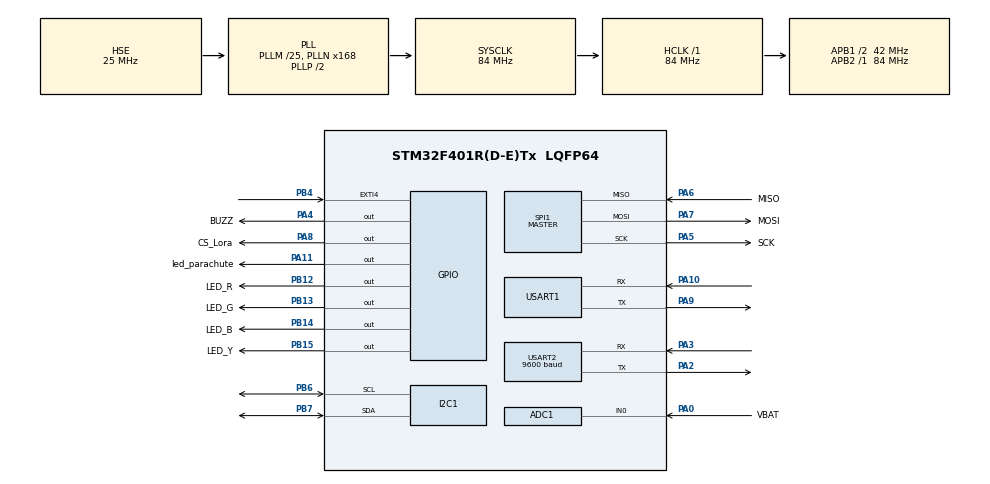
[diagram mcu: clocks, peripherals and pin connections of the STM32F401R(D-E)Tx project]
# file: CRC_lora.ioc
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ADC1.Channel-0\#ChannelRegularConversion=ADC_CHANNEL_0
ADC1.ClockPrescaler=ADC_CLOCK_SYNC_PCLK_DIV8
ADC1.ContinuousConvMode=ENABLE
ADC1.NbrOfConversionFlag=1
ADC1.Rank-0\#ChannelRegularConversion=1
ADC1.SamplingTime-0\#ChannelRegularConversion=ADC_SAMPLETIME_3CYCLES
ADC1.master=1
Dma.I2C1_RX.1.Direction=DMA_PERIPH_TO_MEMORY
Dma.I2C1_RX.1.FIFOMode=DMA_FIFOMODE_DISABLE
Dma.I2C1_RX.1.Instance=DMA1_Stream0
Dma.I2C1_RX.1.MemDataAlignment=DMA_MDATAALIGN_BYTE
Dma.I2C1_RX.1.MemInc=DMA_MINC_ENABLE
Dma.I2C1_RX.1.Mode=DMA_NORMAL
Dma.I2C1_RX.1.PeriphDataAlignment=DMA_PDATAALIGN_BYTE
Dma.I2C1_RX.1.PeriphInc=DMA_PINC_DISABLE
Dma.I2C1_RX.1.Priority=DMA_PRIORITY_LOW
Dma.Request0=USART2_RX
Dma.Request1=I2C1_RX
Dma.USART2_RX.0.Direction=DMA_PERIPH_TO_MEMORY
Dma.USART2_RX.0.FIFOMode=DMA_FIFOMODE_DISABLE
Dma.USART2_RX.0.Instance=DMA1_Stream5
Dma.USART2_RX.0.MemDataAlignment=DMA_MDATAALIGN_BYTE
Dma.USART2_RX.0.MemInc=DMA_MINC_ENABLE
Dma.USART2_RX.0.Mode=DMA_CIRCULAR
Dma.USART2_RX.0.PeriphDataAlignment=DMA_PDATAALIGN_BYTE
Dma.USART2_RX.0.PeriphInc=DMA_PINC_DISABLE
Dma.USART2_RX.0.Priority=DMA_PRIORITY_LOW
Mcu.Family=STM32F4
Mcu.Name=STM32F401R(D-E)Tx
Mcu.Package=LQFP64
NVIC.DMA1_Stream0_IRQn=true\:0\:0\:false\:false\:true\:false\:true\:true
NVIC.DMA1_Stream5_IRQn=true\:0\:0\:false\:false\:true\:false\:true\:true
NVIC.I2C1_EV_IRQn=true\:0\:0\:false\:false\:true\:true\:true\:true
NVIC.PriorityGroup=NVIC_PRIORITYGROUP_4
NVIC.TIM3_IRQn=true\:1\:0\:true\:false\:true\:true\:true\:true
NVIC.USART1_IRQn=true\:0\:0\:false\:false\:true\:true\:true\:true
NVIC.USART2_IRQn=true\:0\:0\:false\:false\:true\:true\:true\:true
PA0-WKUP.GPIO_Label=VBAT
PA0-WKUP.Signal=ADCx_IN0
PA10.Mode=Asynchronous
PA10.Signal=USART1_RX
PA11.GPIO_Label=led_parachute
PA11.Signal=GPIO_Output
PA13.Mode=Serial_Wire
PA13.Signal=SYS_JTMS-SWDIO
PA14.Mode=Serial_Wire
PA14.Signal=SYS_JTCK-SWCLK
PA2.Mode=Asynchronous
PA2.Signal=USART2_TX
PA3.Mode=Asynchronous
PA3.Signal=USART2_RX
PA4.GPIO_Label=BUZZ
PA4.Signal=GPIO_Output
PA5.GPIO_Label=SCK
PA5.Mode=Full_Duplex_Master
PA5.Signal=SPI1_SCK
PA6.GPIO_Label=MISO
PA6.Mode=Full_Duplex_Master
PA6.Signal=SPI1_MISO
PA7.GPIO_Label=MOSI
PA7.Mode=Full_Duplex_Master
PA7.Signal=SPI1_MOSI
PA8.GPIO_Label=CS_Lora
PA8.PinState=GPIO_PIN_SET
PA8.Signal=GPIO_Output
PA9.Mode=Asynchronous
PA9.Signal=USART1_TX
PB12.GPIO_Label=LED_R
PB12.Signal=GPIO_Output
PB13.GPIO_Label=LED_G
PB13.Signal=GPIO_Output
PB14.GPIO_Label=LED_B
PB14.Signal=GPIO_Output
PB15.GPIO_Label=LED_Y
PB15.Signal=GPIO_Output
PB4.Signal=GPXTI4
PB6.GPIO_Pu=GPIO_PULLUP
PB6.Mode=I2C
PB6.Signal=I2C1_SCL
PB7.GPIO_Pu=GPIO_PULLUP
PB7.Mode=I2C
PB7.Signal=I2C1_SDA
PH0\ -\ OSC_IN.Mode=HSE-External-Oscillator
PH0\ -\ OSC_IN.Signal=RCC_OSC_IN
PH1\ -\ OSC_OUT.Mode=HSE-External-Oscillator
PH1\ -\ OSC_OUT.Signal=RCC_OSC_OUT
ProjectManager.HeapSize=0x200
ProjectManager.StackSize=0x400
ProjectManager.TargetToolchain=STM32CubeIDE
RCC.48MHZClocksFreq_Value=42000000
RCC.AHBFreq_Value=84000000
RCC.APB1CLKDivider=RCC_HCLK_DIV2
RCC.APB1Freq_Value=42000000
RCC.APB1TimFreq_Value=84000000
RCC.APB2Freq_Value=84000000
RCC.APB2TimFreq_Value=84000000
RCC.CortexFreq_Value=84000000
RCC.HCLKFreq_Value=84000000
RCC.HSE_VALUE=25000000
RCC.HSI_VALUE=16000000
RCC.LSE_VALUE=32768
RCC.PLLM=25
RCC.PLLN=168
RCC.PLLSourceVirtual=RCC_PLLSOURCE_HSE
RCC.SYSCLKFreq_VALUE=84000000
RCC.SYSCLKSource=RCC_SYSCLKSOURCE_PLLCLK
RCC.VCOOutputFreq_Value=168000000
SH.ADCx_IN0.0=ADC1_IN0,IN0
SPI1.BaudRatePrescaler=SPI_BAUDRATEPRESCALER_8
SPI1.Direction=SPI_DIRECTION_2LINES
SPI1.Mode=SPI_MODE_MASTER
SPI1.VirtualType=VM_MASTER
TIM3.Channel-PWM\ Generation3\ CH3=TIM_CHANNEL_3
TIM3.Period=19999
TIM3.Prescaler=83
USART1.VirtualMode=VM_ASYNC
USART2.BaudRate=9600
USART2.VirtualMode=VM_ASYNC
VP_TIM3_VS_ClockSourceINT.Mode=Internal
board=custom

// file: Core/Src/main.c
/* USER CODE BEGIN Header */
/**
  ******************************************************************************
  * @file           : main.c
  * @brief          : Main program body
  ******************************************************************************
  * @attention
  *
  * Copyright (c) 2026 STMicroelectronics.
  * All rights reserved.
  *
  * This software is licensed under terms that can be found in the LICENSE file
  * in the root directory of this software component.
  * If no LICENSE file comes with this software, it is provided AS-IS.
  *
  ******************************************************************************
  */
/* USER CODE END Header */
#include "main.h"

/* USER CODE BEGIN Includes */
#include "FlightComputer.h"
#include <string.h>
#include <stdio.h>

#include "minmea.h"
#include "gps.h"
/* USER CODE END Includes */

ADC_HandleTypeDef hadc1;

I2C_HandleTypeDef hi2c1;
DMA_HandleTypeDef hdma_i2c1_rx;

SPI_HandleTypeDef hspi1;

TIM_HandleTypeDef htim3;

UART_HandleTypeDef huart1;
UART_HandleTypeDef huart2;
DMA_HandleTypeDef hdma_usart2_rx;

/* USER CODE BEGIN PV */
char gps_line[MINMEA_MAX_SENTENCE_LENGTH];
uint8_t gps_char;
uint8_t gps_idx = 0;

uint32_t time_buff;
uint32_t time_diff;

uint8_t read_data[128];
uint8_t received_data[128];
uint8_t bytesRecv = 0;
uint8_t parachuteCnt = 0;

#define GPS_BUF_SIZE 128
uint8_t gps_raw_data[GPS_BUF_SIZE];

FlightComputer flight_computer;

uint8_t uart_rx_buffer[36] = {0};
volatile uint8_t new_data_flag = 0;
/* USER CODE END PV */

void SystemClock_Config(void);
static void MX_GPIO_Init(void);
static void MX_DMA_Init(void);
static void MX_SPI1_Init(void);
static void MX_USART1_UART_Init(void);
static void MX_I2C1_Init(void);
static void MX_USART2_UART_Init(void);
static void MX_TIM3_Init(void);
static void MX_ADC1_Init(void);

int main(void)
{

  /* MCU Configuration--------------------------------------------------------*/

  /* Reset of all peripherals, Initializes the Flash interface and the Systick. */
  HAL_Init();

  /* Configure the system clock */
  SystemClock_Config();

  /* Initialize all configured peripherals */
  MX_GPIO_Init();
  MX_DMA_Init();
  MX_SPI1_Init();
  MX_USART1_UART_Init();
  MX_I2C1_Init();
  MX_USART2_UART_Init();
  MX_TIM3_Init();
  MX_ADC1_Init();
  /* USER CODE BEGIN 2 */

  HAL_TIM_PWM_Start(&htim3, TIM_CHANNEL_3);
  uint8_t isSend = 65;
  //HAL_GPIO_WritePin(BUZZ_GPIO_Port, BUZZ_Pin, GPIO_PIN_SET);
  HAL_GPIO_WritePin(LED_R_GPIO_Port, LED_R_Pin, GPIO_PIN_SET);
  HAL_GPIO_WritePin(LED_G_GPIO_Port, LED_G_Pin, GPIO_PIN_SET);
  HAL_Delay(2000);
  HAL_GPIO_WritePin(BUZZ_GPIO_Port, BUZZ_Pin, GPIO_PIN_RESET);
  HAL_GPIO_WritePin(LED_R_GPIO_Port, LED_R_Pin, GPIO_PIN_RESET);
  HAL_GPIO_WritePin(LED_G_GPIO_Port, LED_G_Pin, GPIO_PIN_RESET);
  HAL_UART_Transmit(&huart1, &isSend, 1, 100);
  HAL_Delay(1000);
  FlightComputer_init(&flight_computer, &hspi1, CS_Lora_GPIO_Port, CS_Lora_Pin, &hi2c1, &hadc1, &huart1);
  HAL_UART_Transmit(&huart1,&bytesRecv, 1, 100);
  HAL_UART_Receive_IT(&huart1, uart_rx_buffer, 36);

//  GPS_Init(&huart2, &huart1);

  /* USER CODE END 2 */

  /* Infinite loop */
  /* USER CODE BEGIN WHILE */
  uint8_t isOK = 0;
  while (1)
  {

//	  HAL_GPIO_TogglePin(GPIOA, GPIO_PIN_11);
//	  HAL_Delay(1000);
//	  __HAL_TIM_SET_COMPARE(&htim3, TIM_CHANNEL_3, 500);
//	  HAL_Delay(1000);
//
//	  __HAL_TIM_SET_COMPARE(&htim3, TIM_CHANNEL_3, 1500);
//	  HAL_Delay(1000);
//
//	  __HAL_TIM_SET_COMPARE(&htim3, TIM_CHANNEL_3, 2500);
//	  HAL_Delay(1000);

    FlightComputer_loop(&flight_computer);

//	  GPS_Task();

    /* USER CODE END WHILE */

  }
}

void SystemClock_Config(void)
{
  RCC_OscInitTypeDef RCC_OscInitStruct = {0};
  RCC_ClkInitTypeDef RCC_ClkInitStruct = {0};

  /** Configure the main internal regulator output voltage
  */
  __HAL_RCC_PWR_CLK_ENABLE();
  __HAL_PWR_VOLTAGESCALING_CONFIG(PWR_REGULATOR_VOLTAGE_SCALE2);

  /** Initializes the RCC Oscillators according to the specified parameters
  * in the RCC_OscInitTypeDef structure.
  */
  RCC_OscInitStruct.OscillatorType = RCC_OSCILLATORTYPE_HSE;
  RCC_OscInitStruct.HSEState = RCC_HSE_ON;
  RCC_OscInitStruct.PLL.PLLState = RCC_PLL_ON;
  RCC_OscInitStruct.PLL.PLLSource = RCC_PLLSOURCE_HSE;
  RCC_OscInitStruct.PLL.PLLM = 25;
  RCC_OscInitStruct.PLL.PLLN = 168;
  RCC_OscInitStruct.PLL.PLLP = RCC_PLLP_DIV2;
  RCC_OscInitStruct.PLL.PLLQ = 4;
  if (HAL_RCC_OscConfig(&RCC_OscInitStruct) != HAL_OK)
  {
    Error_Handler();
  }

  /** Initializes the CPU, AHB and APB buses clocks
  */
  RCC_ClkInitStruct.ClockType = RCC_CLOCKTYPE_HCLK|RCC_CLOCKTYPE_SYSCLK
                              |RCC_CLOCKTYPE_PCLK1|RCC_CLOCKTYPE_PCLK2;
  RCC_ClkInitStruct.SYSCLKSource = RCC_SYSCLKSOURCE_PLLCLK;
  RCC_ClkInitStruct.AHBCLKDivider = RCC_SYSCLK_DIV1;
  RCC_ClkInitStruct.APB1CLKDivider = RCC_HCLK_DIV2;
  RCC_ClkInitStruct.APB2CLKDivider = RCC_HCLK_DIV1;

  if (HAL_RCC_ClockConfig(&RCC_ClkInitStruct, FLASH_LATENCY_2) != HAL_OK)
  {
    Error_Handler();
  }
}

static void MX_ADC1_Init(void)
{

  ADC_ChannelConfTypeDef sConfig = {0};

  /** Configure the global features of the ADC (Clock, Resolution, Data Alignment and number of conversion)
  */
  hadc1.Instance = ADC1;
  hadc1.Init.ClockPrescaler = ADC_CLOCK_SYNC_PCLK_DIV8;
  hadc1.Init.Resolution = ADC_RESOLUTION_12B;
  hadc1.Init.ScanConvMode = DISABLE;
  hadc1.Init.ContinuousConvMode = ENABLE;
  hadc1.Init.DiscontinuousConvMode = DISABLE;
  hadc1.Init.ExternalTrigConvEdge = ADC_EXTERNALTRIGCONVEDGE_NONE;
  hadc1.Init.ExternalTrigConv = ADC_SOFTWARE_START;
  hadc1.Init.DataAlign = ADC_DATAALIGN_RIGHT;
  hadc1.Init.NbrOfConversion = 1;
  hadc1.Init.DMAContinuousRequests = DISABLE;
  hadc1.Init.EOCSelection = ADC_EOC_SINGLE_CONV;
  if (HAL_ADC_Init(&hadc1) != HAL_OK)
  {
    Error_Handler();
  }

  /** Configure for the selected ADC regular channel its corresponding rank in the sequencer and its sample time.
  */
  sConfig.Channel = ADC_CHANNEL_0;
  sConfig.Rank = 1;
  sConfig.SamplingTime = ADC_SAMPLETIME_3CYCLES;
  if (HAL_ADC_ConfigChannel(&hadc1, &sConfig) != HAL_OK)
  {
    Error_Handler();
  }

}

static void MX_I2C1_Init(void)
{

  hi2c1.Instance = I2C1;
  hi2c1.Init.ClockSpeed = 100000;
  hi2c1.Init.DutyCycle = I2C_DUTYCYCLE_2;
  hi2c1.Init.OwnAddress1 = 0;
  hi2c1.Init.AddressingMode = I2C_ADDRESSINGMODE_7BIT;
  hi2c1.Init.DualAddressMode = I2C_DUALADDRESS_DISABLE;
  hi2c1.Init.OwnAddress2 = 0;
  hi2c1.Init.GeneralCallMode = I2C_GENERALCALL_DISABLE;
  hi2c1.Init.NoStretchMode = I2C_NOSTRETCH_DISABLE;
  if (HAL_I2C_Init(&hi2c1) != HAL_OK)
  {
    Error_Handler();
  }

}

static void MX_SPI1_Init(void)
{

  /* SPI1 parameter configuration*/
  hspi1.Instance = SPI1;
  hspi1.Init.Mode = SPI_MODE_MASTER;
  hspi1.Init.Direction = SPI_DIRECTION_2LINES;
  hspi1.Init.DataSize = SPI_DATASIZE_8BIT;
  hspi1.Init.CLKPolarity = SPI_POLARITY_LOW;
  hspi1.Init.CLKPhase = SPI_PHASE_1EDGE;
  hspi1.Init.NSS = SPI_NSS_SOFT;
  hspi1.Init.BaudRatePrescaler = SPI_BAUDRATEPRESCALER_8;
  hspi1.Init.FirstBit = SPI_FIRSTBIT_MSB;
  hspi1.Init.TIMode = SPI_TIMODE_DISABLE;
  hspi1.Init.CRCCalculation = SPI_CRCCALCULATION_DISABLE;
  hspi1.Init.CRCPolynomial = 10;
  if (HAL_SPI_Init(&hspi1) != HAL_OK)
  {
    Error_Handler();
  }

}

static void MX_TIM3_Init(void)
{

  TIM_ClockConfigTypeDef sClockSourceConfig = {0};
  TIM_MasterConfigTypeDef sMasterConfig = {0};

  htim3.Instance = TIM3;
  htim3.Init.Prescaler = 83;
  htim3.Init.CounterMode = TIM_COUNTERMODE_UP;
  htim3.Init.Period = 19999;
  htim3.Init.ClockDivision = TIM_CLOCKDIVISION_DIV1;
  htim3.Init.AutoReloadPreload = TIM_AUTORELOAD_PRELOAD_DISABLE;
  if (HAL_TIM_Base_Init(&htim3) != HAL_OK)
  {
    Error_Handler();
  }
  sClockSourceConfig.ClockSource = TIM_CLOCKSOURCE_INTERNAL;
  if (HAL_TIM_ConfigClockSource(&htim3, &sClockSourceConfig) != HAL_OK)
  {
    Error_Handler();
  }
  sMasterConfig.MasterOutputTrigger = TIM_TRGO_RESET;
  sMasterConfig.MasterSlaveMode = TIM_MASTERSLAVEMODE_DISABLE;
  if (HAL_TIMEx_MasterConfigSynchronization(&htim3, &sMasterConfig) != HAL_OK)
  {
    Error_Handler();
  }

}

static void MX_USART1_UART_Init(void)
{

  huart1.Instance = USART1;
  huart1.Init.BaudRate = 115200;
  huart1.Init.WordLength = UART_WORDLENGTH_8B;
  huart1.Init.StopBits = UART_STOPBITS_1;
  huart1.Init.Parity = UART_PARITY_NONE;
  huart1.Init.Mode = UART_MODE_TX_RX;
  huart1.Init.HwFlowCtl = UART_HWCONTROL_NONE;
  huart1.Init.OverSampling = UART_OVERSAMPLING_16;
  if (HAL_UART_Init(&huart1) != HAL_OK)
  {
    Error_Handler();
  }

}

static void MX_USART2_UART_Init(void)
{

  huart2.Instance = USART2;
  huart2.Init.BaudRate = 9600;
  huart2.Init.WordLength = UART_WORDLENGTH_8B;
  huart2.Init.StopBits = UART_STOPBITS_1;
  huart2.Init.Parity = UART_PARITY_NONE;
  huart2.Init.Mode = UART_MODE_TX_RX;
  huart2.Init.HwFlowCtl = UART_HWCONTROL_NONE;
  huart2.Init.OverSampling = UART_OVERSAMPLING_16;
  if (HAL_UART_Init(&huart2) != HAL_OK)
  {
    Error_Handler();
  }

}

static void MX_DMA_Init(void)
{

  /* DMA controller clock enable */
  __HAL_RCC_DMA1_CLK_ENABLE();

  /* DMA interrupt init */
  /* DMA1_Stream0_IRQn interrupt configuration */
  HAL_NVIC_SetPriority(DMA1_Stream0_IRQn, 0, 0);
  HAL_NVIC_EnableIRQ(DMA1_Stream0_IRQn);
  /* DMA1_Stream5_IRQn interrupt configuration */
  HAL_NVIC_SetPriority(DMA1_Stream5_IRQn, 0, 0);
  HAL_NVIC_EnableIRQ(DMA1_Stream5_IRQn);

}

static void MX_GPIO_Init(void)
{
  GPIO_InitTypeDef GPIO_InitStruct = {0};

  /* GPIO Ports Clock Enable */
  __HAL_RCC_GPIOH_CLK_ENABLE();
  __HAL_RCC_GPIOA_CLK_ENABLE();
  __HAL_RCC_GPIOB_CLK_ENABLE();

  /*Configure GPIO pin Output Level */
  HAL_GPIO_WritePin(GPIOA, BUZZ_Pin|led_parachute_Pin, GPIO_PIN_RESET);

  /*Configure GPIO pin Output Level */
  HAL_GPIO_WritePin(GPIOB, LED_R_Pin|LED_G_Pin|LED_B_Pin|LED_Y_Pin, GPIO_PIN_RESET);

  /*Configure GPIO pin Output Level */
  HAL_GPIO_WritePin(CS_Lora_GPIO_Port, CS_Lora_Pin, GPIO_PIN_SET);

  /*Configure GPIO pins : BUZZ_Pin CS_Lora_Pin led_parachute_Pin */
  GPIO_InitStruct.Pin = BUZZ_Pin|CS_Lora_Pin|led_parachute_Pin;
  GPIO_InitStruct.Mode = GPIO_MODE_OUTPUT_PP;
  GPIO_InitStruct.Pull = GPIO_NOPULL;
  GPIO_InitStruct.Speed = GPIO_SPEED_FREQ_LOW;
  HAL_GPIO_Init(GPIOA, &GPIO_InitStruct);

  /*Configure GPIO pins : LED_R_Pin LED_G_Pin LED_B_Pin LED_Y_Pin */
  GPIO_InitStruct.Pin = LED_R_Pin|LED_G_Pin|LED_B_Pin|LED_Y_Pin;
  GPIO_InitStruct.Mode = GPIO_MODE_OUTPUT_PP;
  GPIO_InitStruct.Pull = GPIO_NOPULL;
  GPIO_InitStruct.Speed = GPIO_SPEED_FREQ_LOW;
  HAL_GPIO_Init(GPIOB, &GPIO_InitStruct);

  /*Configure GPIO pin : PB4 */
  GPIO_InitStruct.Pin = GPIO_PIN_4;
  GPIO_InitStruct.Mode = GPIO_MODE_IT_RISING;
  GPIO_InitStruct.Pull = GPIO_NOPULL;
  HAL_GPIO_Init(GPIOB, &GPIO_InitStruct);

}

/* USER CODE BEGIN 4 */
void HAL_UART_RxCpltCallback(UART_HandleTypeDef *huart) {
    if (huart->Instance == USART1) {
    	new_data_flag = 1;
        HAL_UART_Receive_IT(&huart1, uart_rx_buffer, 36);
    }
}

/* USER CODE END 4 */

void Error_Handler(void)
{
  __disable_irq();
  while (1)
  {
  }
}
